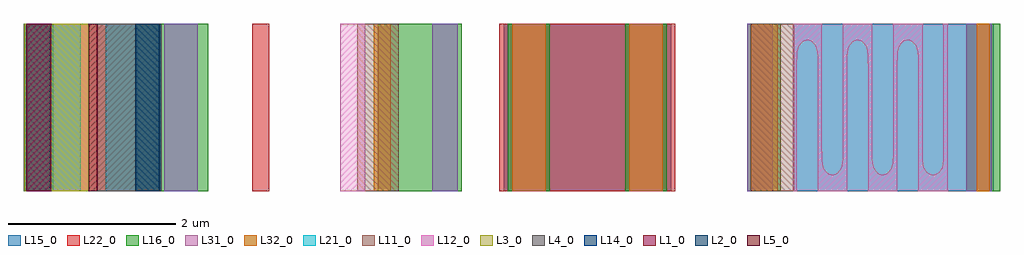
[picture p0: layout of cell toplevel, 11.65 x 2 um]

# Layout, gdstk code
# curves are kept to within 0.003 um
from math import pi, radians
import gdstk
lib = gdstk.Library(unit=1e-6, precision=1e-09)
def R(c, l, rs):  # rectangles x0, y0, x1, y1
    for r in rs: c.add(gdstk.rectangle(r[:2], r[2:], *l))
def P(c, l, *ps):  # polygons
    for p in ps: c.add(gdstk.Polygon(p, *l))
L1_0 = (1, 0)
L2_0 = (2, 0)
L3_0 = (3, 0)
L4_0 = (4, 0)
L5_0 = (5, 0)
L11_0 = (11, 0)
L12_0 = (12, 0)
L14_0 = (14, 0)
L15_0 = (15, 0)
L16_0 = (16, 0)
L21_0 = (21, 0)
L22_0 = (22, 0)
L31_0 = (31, 0)
L32_0 = (32, 0)

rectangle039 = lib.new_cell('rectangle039')
R(rectangle039, L31_0, [(0,0,0.3,2)])

rectangle038 = lib.new_cell('rectangle038')
R(rectangle038, L16_0, [(0,0,0.4,2)])

rectangle037 = lib.new_cell('rectangle037')
R(rectangle037, L32_0, [(0,0,0.15,2)])

rectangle036 = lib.new_cell('rectangle036')
R(rectangle036, L31_0, [(0,0,0.3,2)])

rectangle035 = lib.new_cell('rectangle035')
R(rectangle035, L16_0, [(0,0,0.4,2)])

rectangle033 = lib.new_cell('rectangle033')
R(rectangle033, L11_0, [(0,0,0.52,2)])

rectangle032 = lib.new_cell('rectangle032')
R(rectangle032, L15_0, [(0,0,2.4,2)])

rectangle034 = lib.new_cell('rectangle034')
R(rectangle034, L32_0, [(0,0,0.32,2)])

hairpin = lib.new_cell('hairpin')
P(hairpin, L12_0, [(0.08,0),(0.069,0.041),(0.041,0.078),(0.003,0.102),(-0.038,0.114),(-0.101,0.122),(-0.208,0.125),(-0.72,0.125),(-0.72,0.175),(0.28,0.175),(0.28,0)],
  [(-0.72,-0.175),(-0.72,-0.125),(-0.208,-0.125),(-0.059,-0.118),(0.003,-0.102),(0.041,-0.078),(0.069,-0.041),(0.08,0),(0.28,0),(0.28,-0.175)])

rectangle031 = lib.new_cell('rectangle031')
R(rectangle031, L12_0, [(0,0,1,0.05)])

compass001 = lib.new_cell('compass001')
compass001.add(gdstk.Reference(rectangle031, (-0.5,-0.025)))

rectangle030 = lib.new_cell('rectangle030')
R(rectangle030, L12_0, [(0,0,1,0.05)])

compass = lib.new_cell('compass')
compass.add(gdstk.Reference(rectangle030, (-0.5,-0.025)))

snspd = lib.new_cell('snspd')
snspd.add(gdstk.Reference(hairpin, (-0.22,-1.65), rotation=pi))
snspd.add(gdstk.Reference(hairpin, (-0.22,-1.05), rotation=pi))
snspd.add(gdstk.Reference(hairpin, (-0.22,-0.45), rotation=pi))
snspd.add(gdstk.Reference(compass001, (1,-1.8), rotation=pi))
snspd.add(gdstk.Reference(hairpin, (1.22,-1.35)))
snspd.add(gdstk.Reference(hairpin, (1.22,-0.75)))
snspd.add(gdstk.Reference(hairpin, (1.22,-0.15)))
snspd.add(gdstk.Reference(compass, (0,0)))

rectangle029 = lib.new_cell('rectangle029')
R(rectangle029, L22_0, [(0,0,2.1,2)])

rectangle028 = lib.new_cell('rectangle028')
R(rectangle028, L31_0, [(0,0,0.4,2)])

rectangle027 = lib.new_cell('rectangle027')
R(rectangle027, L16_0, [(0,0,0.5,2)])

rectangle026 = lib.new_cell('rectangle026')
R(rectangle026, L32_0, [(0,0,0.4,2)])

rectangle025 = lib.new_cell('rectangle025')
R(rectangle025, L31_0, [(0,0,0.4,2)])

rectangle024 = lib.new_cell('rectangle024')
R(rectangle024, L16_0, [(0,0,0.5,2)])

rectangle023 = lib.new_cell('rectangle023')
R(rectangle023, L32_0, [(0,0,0.4,2)])

rectangle013 = lib.new_cell('rectangle013')
R(rectangle013, L31_0, [(0,0,0.3,2)])

rectangle022 = lib.new_cell('rectangle022')
R(rectangle022, L15_0, [(0,0,2,2)])

rectangle012 = lib.new_cell('rectangle012')
R(rectangle012, L16_0, [(0,0,0.35,2)])

rectangle021 = lib.new_cell('rectangle021')
R(rectangle021, L31_0, [(0,0,0.3,2)])

rectangle011 = lib.new_cell('rectangle011')
R(rectangle011, L32_0, [(0,0,0.25,2)])

rectangle020 = lib.new_cell('rectangle020')
R(rectangle020, L16_0, [(0,0,1,2)])

rectangle010 = lib.new_cell('rectangle010')
R(rectangle010, L14_0, [(0,0,0.28,2)])

rectangle019 = lib.new_cell('rectangle019')
R(rectangle019, L32_0, [(0,0,0.2,2)])

rectangle009 = lib.new_cell('rectangle009')
R(rectangle009, L32_0, [(0,0,0.25,2)])

rectangle018 = lib.new_cell('rectangle018')
R(rectangle018, L11_0, [(0,0,0.5,2)])

rectangle008 = lib.new_cell('rectangle008')
R(rectangle008, L14_0, [(0,0,0.28,2)])

rectangle017 = lib.new_cell('rectangle017')
R(rectangle017, L12_0, [(0,0,0.3,2)])

rectangle007 = lib.new_cell('rectangle007')
R(rectangle007, L1_0, [(0,0,0.3,2)])

rectangle016 = lib.new_cell('rectangle016')
R(rectangle016, L22_0, [(0,0,0.2,2)])

rectangle006 = lib.new_cell('rectangle006')
R(rectangle006, L2_0, [(0,0,0.3,2)])

rectangle015 = lib.new_cell('rectangle015')
R(rectangle015, L31_0, [(0,0,0.4,2)])

rectangle005 = lib.new_cell('rectangle005')
R(rectangle005, L3_0, [(0,0,0.77,2)])

rectangle014 = lib.new_cell('rectangle014')
R(rectangle014, L16_0, [(0,0,0.65,2)])

rectangle004 = lib.new_cell('rectangle004')
R(rectangle004, L4_0, [(0,0,0.77,2)])

rectangle003 = lib.new_cell('rectangle003')
R(rectangle003, L5_0, [(0,0,0.1,2)])

rectangle002 = lib.new_cell('rectangle002')
R(rectangle002, L21_0, [(0,0,0.67,2)])

rectangle001 = lib.new_cell('rectangle001')
R(rectangle001, L21_0, [(0,0,0.67,2)])

rectangle = lib.new_cell('rectangle')
R(rectangle, L22_0, [(0,0,1.64,2)])

toplevel = lib.new_cell('toplevel')
toplevel.add(gdstk.Reference(rectangle039, (10.425,49)))
toplevel.add(gdstk.Reference(rectangle038, (10.425,49)))
toplevel.add(gdstk.Reference(rectangle037, (10.55,49)))
toplevel.add(gdstk.Reference(rectangle036, (7.81,49)))
toplevel.add(gdstk.Reference(rectangle035, (7.81,49)))
toplevel.add(gdstk.Reference(rectangle033, (7.85,49)))
toplevel.add(gdstk.Reference(rectangle032, (8.35,49)))
toplevel.add(gdstk.Reference(rectangle034, (7.85,49)))
toplevel.add(gdstk.Reference(snspd, (8.375,49.5), rotation=pi/2))
toplevel.add(gdstk.Reference(rectangle029, (4.85,49)))
toplevel.add(gdstk.Reference(rectangle028, (6.4,49)))
toplevel.add(gdstk.Reference(rectangle027, (6.35,49)))
toplevel.add(gdstk.Reference(rectangle026, (6.4,49)))
toplevel.add(gdstk.Reference(rectangle025, (5,49)))
toplevel.add(gdstk.Reference(rectangle024, (4.95,49)))
toplevel.add(gdstk.Reference(rectangle023, (5,49)))
toplevel.add(gdstk.Reference(rectangle013, (-0.8,49)))
toplevel.add(gdstk.Reference(rectangle022, (4.9,49)))
toplevel.add(gdstk.Reference(rectangle012, (-0.825,49)))
toplevel.add(gdstk.Reference(rectangle021, (4.05,49)))
toplevel.add(gdstk.Reference(rectangle011, (0.525,49)))
toplevel.add(gdstk.Reference(rectangle020, (3.4,49)))
toplevel.add(gdstk.Reference(rectangle010, (0.51,49)))
toplevel.add(gdstk.Reference(rectangle019, (3.35,49)))
toplevel.add(gdstk.Reference(rectangle009, (-0.775,49)))
toplevel.add(gdstk.Reference(rectangle018, (3.15,49)))
toplevel.add(gdstk.Reference(rectangle008, (-0.79,49)))
toplevel.add(gdstk.Reference(rectangle017, (2.95,49)))
toplevel.add(gdstk.Reference(rectangle007, (-0.8,49)))
toplevel.add(gdstk.Reference(rectangle016, (1.9,49)))
toplevel.add(gdstk.Reference(rectangle006, (0.5,49)))
toplevel.add(gdstk.Reference(rectangle015, (0.85,49)))
toplevel.add(gdstk.Reference(rectangle005, (-0.82,49)))
toplevel.add(gdstk.Reference(rectangle014, (0.725,49)))
toplevel.add(gdstk.Reference(rectangle004, (0.05,49)))
toplevel.add(gdstk.Reference(rectangle003, (-0.05,49)))
toplevel.add(gdstk.Reference(rectangle002, (-0.82,49)))
toplevel.add(gdstk.Reference(rectangle001, (0.15,49)))
toplevel.add(gdstk.Reference(rectangle, (-0.82,49)))

lib.write_gds('toplevel.gds')
